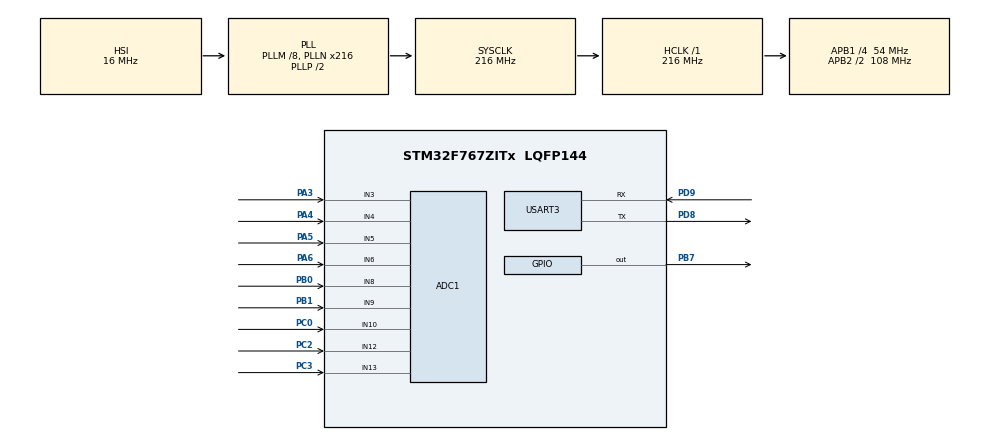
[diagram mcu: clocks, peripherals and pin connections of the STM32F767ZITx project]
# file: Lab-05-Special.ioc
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ADC1.Channel-0\#ChannelRegularConversion=ADC_CHANNEL_10
ADC1.Channel-1\#ChannelRegularConversion=ADC_CHANNEL_3
ADC1.Channel-2\#ChannelRegularConversion=ADC_CHANNEL_12
ADC1.Channel-3\#ChannelRegularConversion=ADC_CHANNEL_13
ADC1.Channel-4\#ChannelRegularConversion=ADC_CHANNEL_5
ADC1.Channel-5\#ChannelRegularConversion=ADC_CHANNEL_6
ADC1.Channel-6\#ChannelRegularConversion=ADC_CHANNEL_8
ADC1.Channel-7\#ChannelRegularConversion=ADC_CHANNEL_9
ADC1.ContinuousConvMode=ENABLE
ADC1.DMAContinuousRequests=ENABLE
ADC1.NbrOfConversion=8
ADC1.NbrOfConversionFlag=1
ADC1.Rank-0\#ChannelRegularConversion=1
ADC1.Rank-1\#ChannelRegularConversion=2
ADC1.Rank-2\#ChannelRegularConversion=3
ADC1.Rank-3\#ChannelRegularConversion=4
ADC1.Rank-4\#ChannelRegularConversion=5
ADC1.Rank-5\#ChannelRegularConversion=6
ADC1.Rank-6\#ChannelRegularConversion=7
ADC1.Rank-7\#ChannelRegularConversion=8
ADC1.SamplingTime-0\#ChannelRegularConversion=ADC_SAMPLETIME_56CYCLES
ADC1.SamplingTime-1\#ChannelRegularConversion=ADC_SAMPLETIME_56CYCLES
ADC1.SamplingTime-2\#ChannelRegularConversion=ADC_SAMPLETIME_56CYCLES
ADC1.SamplingTime-3\#ChannelRegularConversion=ADC_SAMPLETIME_56CYCLES
ADC1.SamplingTime-4\#ChannelRegularConversion=ADC_SAMPLETIME_56CYCLES
ADC1.SamplingTime-5\#ChannelRegularConversion=ADC_SAMPLETIME_56CYCLES
ADC1.SamplingTime-6\#ChannelRegularConversion=ADC_SAMPLETIME_56CYCLES
ADC1.SamplingTime-7\#ChannelRegularConversion=ADC_SAMPLETIME_56CYCLES
ADC1.master=1
CORTEX_M7.default_mode_Activation=1
Dma.ADC1.0.Direction=DMA_PERIPH_TO_MEMORY
Dma.ADC1.0.FIFOMode=DMA_FIFOMODE_DISABLE
Dma.ADC1.0.Instance=DMA2_Stream0
Dma.ADC1.0.MemDataAlignment=DMA_MDATAALIGN_HALFWORD
Dma.ADC1.0.MemInc=DMA_MINC_ENABLE
Dma.ADC1.0.Mode=DMA_CIRCULAR
Dma.ADC1.0.PeriphDataAlignment=DMA_PDATAALIGN_HALFWORD
Dma.ADC1.0.PeriphInc=DMA_PINC_DISABLE
Dma.ADC1.0.Priority=DMA_PRIORITY_LOW
Dma.Request0=ADC1
Mcu.Family=STM32F7
Mcu.Name=STM32F767ZITx
Mcu.Package=LQFP144
NVIC.ADC_IRQn=true\:0\:0\:false\:false\:true\:true\:true\:true
NVIC.DMA2_Stream0_IRQn=true\:0\:0\:false\:false\:true\:false\:true\:true
NVIC.PriorityGroup=NVIC_PRIORITYGROUP_4
PA3.Signal=ADCx_IN3
PA4.Signal=ADCx_IN4
PA5.Signal=ADCx_IN5
PA6.Signal=ADCx_IN6
PB0.Signal=ADCx_IN8
PB1.Signal=ADCx_IN9
PB7.Signal=GPIO_Output
PC0.Signal=ADCx_IN10
PC2.Signal=ADCx_IN12
PC3.Signal=ADCx_IN13
PD8.Mode=Asynchronous
PD8.Signal=USART3_TX
PD9.Mode=Asynchronous
PD9.Signal=USART3_RX
ProjectManager.HeapSize=0x200
ProjectManager.StackSize=0x400
ProjectManager.TargetToolchain=STM32CubeIDE
RCC.AHBFreq_Value=216000000
RCC.APB1CLKDivider=RCC_HCLK_DIV4
RCC.APB1Freq_Value=54000000
RCC.APB1TimFreq_Value=108000000
RCC.APB2CLKDivider=RCC_HCLK_DIV2
RCC.APB2Freq_Value=108000000
RCC.APB2TimFreq_Value=216000000
RCC.CortexFreq_Value=216000000
RCC.HCLKFreq_Value=216000000
RCC.HSE_VALUE=25000000
RCC.HSI_VALUE=16000000
RCC.LSE_VALUE=32768
RCC.PLLM=8
RCC.PLLN=216
RCC.SYSCLKFreq_VALUE=216000000
RCC.SYSCLKSource=RCC_SYSCLKSOURCE_PLLCLK
RCC.USBFreq_Value=216000000
RCC.VCOOutputFreq_Value=432000000
SH.ADCx_IN10.0=ADC1_IN10,IN10
SH.ADCx_IN12.0=ADC1_IN12,IN12
SH.ADCx_IN13.0=ADC1_IN13,IN13
SH.ADCx_IN3.0=ADC1_IN3,IN3
SH.ADCx_IN4.0=ADC1_IN4,IN4
SH.ADCx_IN5.0=ADC1_IN5,IN5
SH.ADCx_IN6.0=ADC1_IN6,IN6
SH.ADCx_IN8.0=ADC1_IN8,IN8
SH.ADCx_IN9.0=ADC1_IN9,IN9
USART3.VirtualMode-Asynchronous=VM_ASYNC
board=custom

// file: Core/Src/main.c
/* USER CODE BEGIN Header */
/**
  ******************************************************************************
  * @file           : main.c
  * @brief          : Main program body
  ******************************************************************************
  * @attention
  *
  * Copyright (c) 2026 STMicroelectronics.
  * All rights reserved.
  *
  * This software is licensed under terms that can be found in the LICENSE file
  * in the root directory of this software component.
  * If no LICENSE file comes with this software, it is provided AS-IS.
  *
  ******************************************************************************
  */
/* USER CODE END Header */
#include "main.h"
#include "adc.h"
#include "dma.h"
#include "usart.h"
#include "gpio.h"

/* USER CODE BEGIN Includes */
#include "stdio.h"
/* USER CODE END Includes */

/* USER CODE BEGIN PV */
uint16_t adc_buffer[8];
volatile uint16_t debug_adc_raw = 0;       // ค่าก่อน Filter (Raw)
volatile uint16_t debug_adc_filtered = 0;  // ค่าหลัง Filter
/* USER CODE END PV */

void SystemClock_Config(void);
static void MPU_Config(void);
/* USER CODE BEGIN PFP */
int __io_putchar(int ch);
uint16_t Apply_LowPassFilter(uint16_t current_val);
/* USER CODE END PFP */

/* USER CODE BEGIN 0 */
#define FILTER_ALPHA 0.1f // ค่าสัมประสิทธิ์กรองความถี่ (0.01 - 0.99): ค่ายิ่งน้อย ยิ่งนิ่งแต่วิ่งตามช้า

uint16_t Apply_LowPassFilter(uint16_t current_val)
{
    static float filtered_val = 0.0f;
    static uint8_t is_first_run = 1;

    if (is_first_run)
    {
        filtered_val = (float)current_val;
        is_first_run = 0;
    }
    else
    {
        // สูตร EMA: Y[n] = (Alpha * X[n]) + ((1 - Alpha) * Y[n-1])
        filtered_val = (FILTER_ALPHA * (float)current_val) + ((1.0f - FILTER_ALPHA) * filtered_val);
    }

    return (uint16_t)filtered_val;
}

/* USER CODE END 0 */

int main(void)
{

  /* MPU Configuration--------------------------------------------------------*/
  MPU_Config();

  /* MCU Configuration--------------------------------------------------------*/

  /* Reset of all peripherals, Initializes the Flash interface and the Systick. */
  HAL_Init();

  /* Configure the system clock */
  SystemClock_Config();

  /* Initialize all configured peripherals */
  MX_GPIO_Init();
  MX_DMA_Init();
  MX_ADC1_Init();
  MX_USART3_UART_Init();
  /* USER CODE BEGIN 2 */
  HAL_ADC_Start_DMA(&hadc1, (uint32_t*)adc_buffer, 8);
  /* USER CODE END 2 */

  /* Infinite loop */
  while (1)
  {

    /* USER CODE BEGIN 3 */
	  printf("Ch 1: %u | Ch 2: %u | Ch 3: %u | Ch 4: %u ", adc_buffer[0], adc_buffer[1], adc_buffer[2], adc_buffer[3]);
	  printf("Ch :5 %u | Ch 6: %u | Ch 7: %u | Ch 8: %u\r\n", adc_buffer[4], adc_buffer[5], adc_buffer[6], adc_buffer[7]);
	  HAL_Delay(200);
  }
  /* USER CODE END 3 */
}

void SystemClock_Config(void)
{
  RCC_OscInitTypeDef RCC_OscInitStruct = {0};
  RCC_ClkInitTypeDef RCC_ClkInitStruct = {0};

  /** Configure the main internal regulator output voltage
  */
  __HAL_RCC_PWR_CLK_ENABLE();
  __HAL_PWR_VOLTAGESCALING_CONFIG(PWR_REGULATOR_VOLTAGE_SCALE1);

  /** Initializes the RCC Oscillators according to the specified parameters
  * in the RCC_OscInitTypeDef structure.
  */
  RCC_OscInitStruct.OscillatorType = RCC_OSCILLATORTYPE_HSI;
  RCC_OscInitStruct.HSIState = RCC_HSI_ON;
  RCC_OscInitStruct.HSICalibrationValue = RCC_HSICALIBRATION_DEFAULT;
  RCC_OscInitStruct.PLL.PLLState = RCC_PLL_ON;
  RCC_OscInitStruct.PLL.PLLSource = RCC_PLLSOURCE_HSI;
  RCC_OscInitStruct.PLL.PLLM = 8;
  RCC_OscInitStruct.PLL.PLLN = 216;
  RCC_OscInitStruct.PLL.PLLP = RCC_PLLP_DIV2;
  RCC_OscInitStruct.PLL.PLLQ = 2;
  RCC_OscInitStruct.PLL.PLLR = 2;
  if (HAL_RCC_OscConfig(&RCC_OscInitStruct) != HAL_OK)
  {
    Error_Handler();
  }

  /** Activate the Over-Drive mode
  */
  if (HAL_PWREx_EnableOverDrive() != HAL_OK)
  {
    Error_Handler();
  }

  /** Initializes the CPU, AHB and APB buses clocks
  */
  RCC_ClkInitStruct.ClockType = RCC_CLOCKTYPE_HCLK|RCC_CLOCKTYPE_SYSCLK
                              |RCC_CLOCKTYPE_PCLK1|RCC_CLOCKTYPE_PCLK2;
  RCC_ClkInitStruct.SYSCLKSource = RCC_SYSCLKSOURCE_PLLCLK;
  RCC_ClkInitStruct.AHBCLKDivider = RCC_SYSCLK_DIV1;
  RCC_ClkInitStruct.APB1CLKDivider = RCC_HCLK_DIV4;
  RCC_ClkInitStruct.APB2CLKDivider = RCC_HCLK_DIV2;

  if (HAL_RCC_ClockConfig(&RCC_ClkInitStruct, FLASH_LATENCY_7) != HAL_OK)
  {
    Error_Handler();
  }
}

/* USER CODE BEGIN 4 */
int __io_putchar(int ch) {
    HAL_UART_Transmit(&huart3, (uint8_t *)&ch, 1, HAL_MAX_DELAY);
    return ch;
}

void HAL_ADC_ConvHalfCpltCallback(ADC_HandleTypeDef* hadc) {
    if (hadc->Instance == ADC1) {
        HAL_GPIO_WritePin(GPIOB, GPIO_PIN_7, GPIO_PIN_SET);
    }
}

void HAL_ADC_ConvCpltCallback(ADC_HandleTypeDef* hadc) {
    if (hadc->Instance == ADC1) {
        HAL_GPIO_WritePin(GPIOB, GPIO_PIN_7, GPIO_PIN_RESET);
        debug_adc_raw = adc_buffer[0];
        debug_adc_filtered = Apply_LowPassFilter(debug_adc_raw);
    }
}
/* USER CODE END 4 */

 /* MPU Configuration */

void MPU_Config(void)
{
  MPU_Region_InitTypeDef MPU_InitStruct = {0};

  /* Disables the MPU */
  HAL_MPU_Disable();

  /** Initializes and configures the Region and the memory to be protected
  */
  MPU_InitStruct.Enable = MPU_REGION_ENABLE;
  MPU_InitStruct.Number = MPU_REGION_NUMBER0;
  MPU_InitStruct.BaseAddress = 0x0;
  MPU_InitStruct.Size = MPU_REGION_SIZE_4GB;
  MPU_InitStruct.SubRegionDisable = 0x87;
  MPU_InitStruct.TypeExtField = MPU_TEX_LEVEL0;
  MPU_InitStruct.AccessPermission = MPU_REGION_NO_ACCESS;
  MPU_InitStruct.DisableExec = MPU_INSTRUCTION_ACCESS_DISABLE;
  MPU_InitStruct.IsShareable = MPU_ACCESS_SHAREABLE;
  MPU_InitStruct.IsCacheable = MPU_ACCESS_NOT_CACHEABLE;
  MPU_InitStruct.IsBufferable = MPU_ACCESS_NOT_BUFFERABLE;

  HAL_MPU_ConfigRegion(&MPU_InitStruct);
  /* Enables the MPU */
  HAL_MPU_Enable(MPU_PRIVILEGED_DEFAULT);

}

void Error_Handler(void)
{
  __disable_irq();
  while (1)
  {
  }
}
